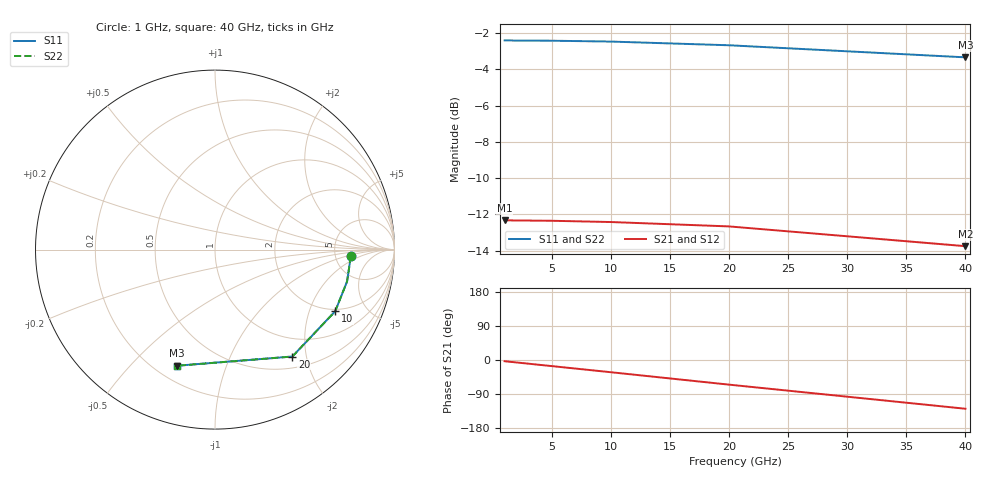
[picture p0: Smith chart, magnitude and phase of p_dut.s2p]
! Generated by circuitRF - EM: Full-wave planar
! circuitRF-EM setup: p_zigzag
! circuitRF-EM layout: zigzag/layout/zigzag.clay
! circuitRF-EM written: 2026-11-04 22:51:17Z
! circuitRF-EM geometry: 8b8940cc56722529
! circuitRF-EM mesh: 025622186bca0020
! circuitRF-EM ports: e41c6e513bf609cb
! circuitRF-EM model: grounded-edge-port-2026-10-14
! Port[1] = 1
! Port[2] = 2
! circuitRF-EM port 1: '1' on 'Metal1' at (0, 0 um), edge, de-embedded, 50 Ohm
! circuitRF-EM port 2: '2' on 'Metal1' at (800, 0 um), edge, de-embedded, 50 Ohm
! circuitRF-EM: port N of this file is the label named on the 'port N' line above. A circuit that composes this result binds its nets in that order; two ports of a reciprocal part swapped gives a plausible curve of a different structure.
! circuitRF-EM: re-running the EM setup rewrites this file. If circuitRF reports it as stale, the layout's cross-section changed after this file was written.
# GHz S RI R 50
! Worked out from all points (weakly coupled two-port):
!   5 points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, 1 GHz to 40 GHz, reference 50 ohm
!   highest |S21| = -12.33 dB at 1 GHz (marker M1); lowest = -13.8 dB at 40 GHz (marker M2)
!   lowest |S11| = -3.3 dB at 40 GHz (marker M3), VSWR 5.27, Z = 14.2 - j34.3 ohm
!   |S11| at or under -10 dB: nowhere
!   |S22| runs from -3.3 to -2.4 dB; largest |S21 - S12| = 1.4e-10
!   S11 on the Smith chart (normalised r, x): 1 GHz: 7.06, -1.20; 10 GHz: 1.91, -3.03; 20 GHz: 0.68, -1.76; 40 GHz: 0.28, -0.69
1  0.7572 -0.036  0.2415 -0.0136  0.2415 -0.0136  0.7572 -0.036
5  0.7356 -0.178  0.2317 -0.067  0.2317 -0.067  0.7356 -0.178
10  0.6698 -0.3435  0.2023 -0.1278  0.2023 -0.1278  0.6698 -0.3435
20  0.431 -0.5957  0.0982 -0.211  0.0982 -0.211  0.431 -0.5957
40  -0.2123 -0.647  -0.1281 -0.1604  -0.1281 -0.1604  -0.2121 -0.6472
